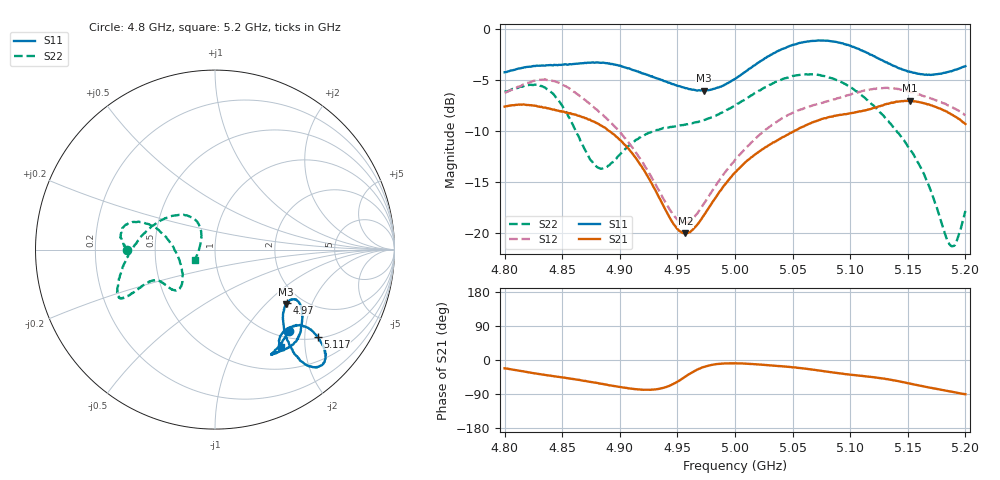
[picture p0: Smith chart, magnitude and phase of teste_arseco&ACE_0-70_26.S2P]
! Network Analyzer HP8722D
! Hewlett-Packard
! Data name: Linha & Wilkinson
! Saver's name: Rodrigo Anjos
! Comments: Teste da utilização de aquisição
! continua pelo VNA HP8722D
! Time and date: 8/5/2025 12:58
!  Frequency  S11  S21  S12  S22
# HZ  S  MA R 50
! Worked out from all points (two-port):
!   401 points, 4.8 GHz to 5.2 GHz, reference 50 ohm
!   highest |S21| = -7.04 dB at 5.152 GHz (marker M1); lowest = -20.0 dB at 4.957 GHz (marker M2)
!   |S21| within 3 dB of the highest: start of sweep to 4.891 GHz; 5.051 GHz to end of sweep
!   lowest |S11| = -6.1 dB at 4.973 GHz (marker M3), VSWR 2.98, Z = 82.3 - j66.2 ohm
!   |S11| at or under -10 dB: nowhere
!   |S22| runs from -21.3 to -4.5 dB; largest |S21 - S12| = 0.95
!   S11 on the Smith chart (normalised r, x): 4.8 GHz: 1.14, -1.65; 4.97 GHz: 1.69, -1.33; 5.117 GHz: 1.05, -2.32; 5.2 GHz: 0.82, -1.57
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4.8e9  0.6132 -47.6  0.416 -21.9  0.4868 -175.8  0.4923 -180.0
4.821e9  0.6518 -58.5  0.4237 -32.7  0.5442 176.8  0.5308 171.4
4.837e9  0.6631 -61.6  0.4083 -40.4  0.5617 167.4  0.506 163.3
4.851e9  0.6681 -60.0  0.394 -46.2  0.5295 158.6  0.4108 159.3
4.867e9  0.6786 -54.8  0.3704 -53.8  0.4602 150.9  0.2744 167.0
4.886e9  0.6824 -48.4  0.3303 -63.7  0.3756 144.2  0.2084 -158.2
4.909e9  0.6364 -40.6  0.2525 -75.2  0.2713 137.8  0.2715 -133.3
4.934e9  0.5683 -33.1  0.1495 -76.2  0.1618 141.2  0.3206 -135.4
4.957e9  0.5122 -32.8  0.09973 -43.6  0.112 174.7  0.3396 -145.1
4.97e9  0.4987 -36.3  0.1155 -21.8  0.1312 -163.4  0.3532 -149.8
4.973e9  0.4979 -37.4  0.1221 -18.3  0.1393 -160.0  0.3571 -150.9
5e9  0.5683 -47.7  0.1978 -8.9  0.2281 -146.7  0.4212 -153.9
5.038e9  0.7827 -52.4  0.287 -16.0  0.356 -147.8  0.5573 -152.0
5.067e9  0.8723 -48.3  0.3479 -25.2  0.4213 -154.4  0.5984 -154.9
5.094e9  0.8471 -43.2  0.3819 -36.6  0.4653 -161.9  0.543 -165.5
5.117e9  0.7493 -40.3  0.4044 -44.2  0.5044 -172.5  0.4365 174.4
5.134e9  0.6757 -40.1  0.4313 -51.5  0.5113 177.4  0.3476 153.4
5.152e9  0.615 -43.4  0.4444 -62.3  0.4899 167.3  0.2566 131.4
5.167e9  0.5949 -48.9  0.4269 -71.6  0.4618 160.9  0.1776 122.8
5.186e9  0.6174 -54.4  0.3866 -82.5  0.4206 154.2  0.08834 154.2
5.192e9  0.6314 -55.5  0.3691 -85.9  0.4032 152.1  0.08992 -178.1
5.2e9  0.6566 -55.7  0.342 -90.5  0.3773 149.5  0.1284 -151.9
